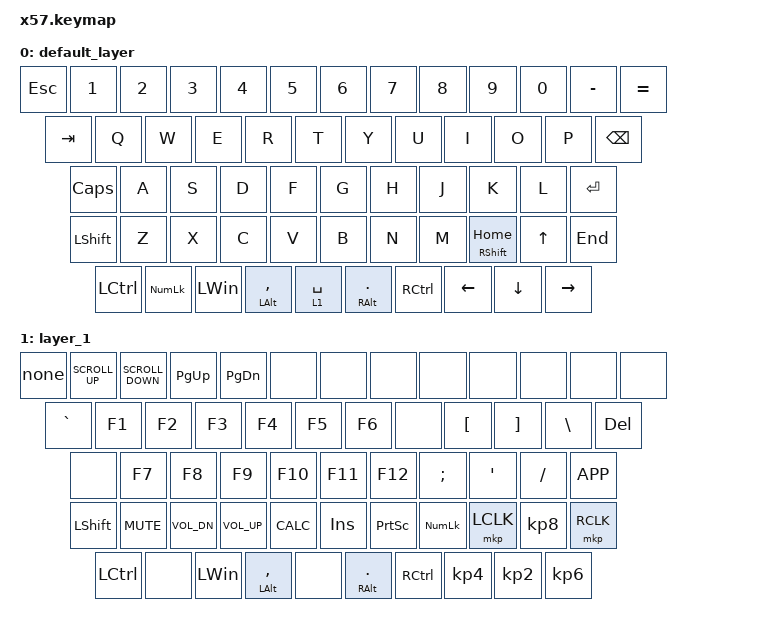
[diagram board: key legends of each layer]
#include <behaviors.dtsi>
#include <dt-bindings/zmk/keys.h>
#include <dt-bindings/zmk/rgb.h>
#include <dt-bindings/zmk/bt.h>
#include <dt-bindings/zmk/outputs.h>
#include <dt-bindings/zmk/ext_power.h>
#include <dt-bindings/zmk/mouse.h>

/ {
    keymap {
        compatible = "zmk,keymap";
        default_layer {
            bindings = <
                &kp ESC    &kp N1    &kp N2    &kp N3    &kp N4    &kp N5    &kp N6    &kp N7    &kp N8    &kp N9    &kp N0    &kp MINUS    &kp EQUAL
                &kp TAB    &kp Q    &kp W    &kp E    &kp R    &kp T    &kp Y    &kp U    &kp I    &kp O    &kp P    &kp BSPC
                &kp CAPS    &kp A    &kp S    &kp D    &kp F    &kp G    &kp H    &kp J    &kp K    &kp L    &kp ENTER
                &kp LSHFT    &kp Z    &kp X    &kp C    &kp V    &kp B    &kp N    &kp M    &mt RSHFT HOME    &kp UP    &kp END
                &kp LCTRL    &kp KP_NUM    &kp LWIN    &mt LALT COMMA    &lt 1 SPACE    &mt RALT DOT    &kp RCTRL    &kp LEFT    &kp DOWN    &kp RIGHT
            >;
        };
        layer_1 {
            bindings = <
                &kp none    &kp K_SCROLL_UP    &kp K_SCROLL_DOWN    &kp PG_UP    &kp PG_DN    &none    &none    &none    &none    &none    &none    &none    &none
                &kp GRAVE    &kp F1    &kp F2    &kp F3    &kp F4    &kp F5    &kp F6    &none    &kp LBKT    &kp RBKT    &kp BSLH    &kp DEL
                &none    &kp F7    &kp F8    &kp F9    &kp F10    &kp F11    &kp F12    &kp SEMI    &kp SQT    &kp SLASH    &kp K_APP
                &kp LSHFT    &kp K_MUTE    &kp K_VOL_DN    &kp K_VOL_UP    &kp K_CALC    &kp INS    &kp PSCRN    &kp KP_NUM    &mkp LCLK    &kp KP_N8    &mkp RCLK
                &kp LCTRL    &none    &kp LWIN    &mt LALT COMMA    &none    &mt RALT DOT    &kp RCTRL    &kp KP_N4    &kp KP_N2    &kp KP_N6
            >;
        };
        //layer_2 {
        //    bindings = <
        //        &kp ESC    &kp N1    &kp N2    &kp N3    &kp N4    &kp N5    &kp N6    &kp N7    &kp N8    &kp N9    &kp N0    &kp MINUS    &kp EQUAL
        //        &kp TAB    &kp Q    &kp W    &kp E    &kp R    &kp T    &kp Y    &kp U    &kp I    &kp O    &kp P    &kp BSPC
        //        &kp CAPS    &kp A    &kp S    &kp D    &kp F    &kp G    &kp H    &kp J    &kp K    &kp L    &kp ENTER
        //        &kp LSHFT    &kp Z    &kp X    &kp C    &kp V    &kp B    &kp N    &kp M    &mt RSHFT HOME    &kp UP    &kp END
        //        &kp LCTRL    &mo 2    &kp LWIN    &mt LALT COMMA    &lt 1 SPACE    &mt RALT DOT    &kp RCTRL    &kp LEFT    &kp DOWN    &kp RIGHT
        //    >;
        //};
    };
};
